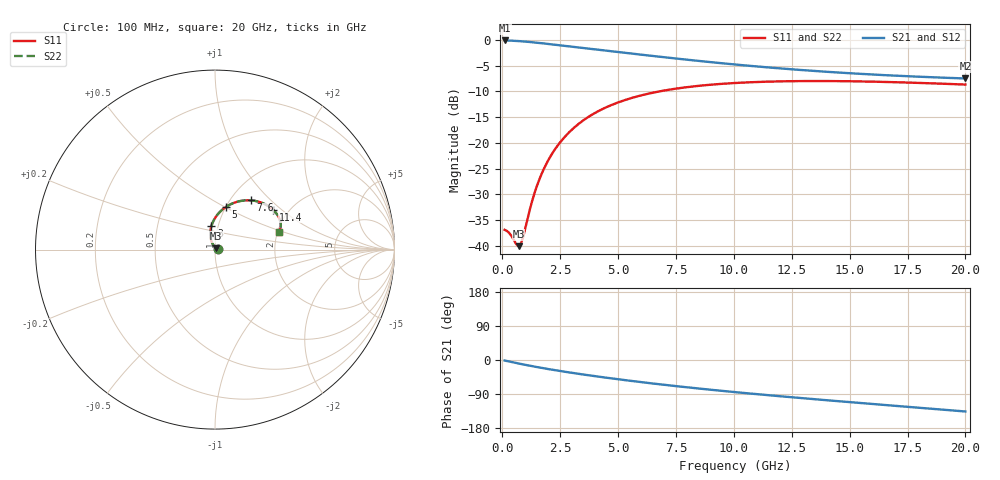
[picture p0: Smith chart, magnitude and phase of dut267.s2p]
! Touchstone file exported from HFSS 2024.1.0
!  File:  C:/UserFiles/LocalFiles/RDL_TSV_Batchsim/temp_RDL_TSV_267_1779460730.aedt
!  Generated:  10:56:12 PM May 22, 2026
!  Design:  RDL_TSV
!  Project:  temp_RDL_TSV_267_1779460730
!  Setup:  Setup1
!  Solution:  Sweep
! Variables:
!  dtsv = 10.2um
!  hbump = 3um
!  htsv = 72.18um
!  ldown = 397.79um
!  lrdl = 123.04um
!  p = 40
!  p1 = 56.06um
!  rhole = 10um
!  subl = 1685.53um
!  t = 450um
!  tdown = 2.57um
!  trdl = 3.86um
!  viad = 10um
!  wdown = 15.07um
!  wrdl = 14.47um
!  xbump = 18um
# GHz S MA R 50.000000
! Terminal data exported
! Port[1] = TM1_1_T1
! Port[2] = TM1_4_T1
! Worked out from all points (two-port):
!   200 points, 100 MHz to 20 GHz, reference 50 ohm
!   highest |S21| = -0.13 dB at 100 MHz (marker M1); lowest = -7.5 dB at 20 GHz (marker M2)
!   |S21| within 3 dB of the highest: start of sweep to 6.482 GHz
!   lowest |S11| = -40.0 dB at 700 MHz (marker M3), VSWR 1.02, Z = 50.6 + j0.781 ohm
!   |S11| at or under -10 dB: start of sweep to 6.798 GHz
!   |S22| runs from -40.0 to -8.0 dB; largest |S21 - S12| = 1.5e-14
!   S11 on the Smith chart (normalised r, x): 100 MHz: 1.03, +0.00; 3 GHz: 0.93, +0.25; 5 GHz: 1.00, +0.51; 7.6 GHz: 1.23, +0.76; 11.4 GHz: 1.67, +0.88; 20 GHz: 2.03, +0.46
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0.1  0.01436 3.5  0.9852 -1.3  0.9852 -1.3  0.01436 3.5
! Gamma 0 0 0 0
! Port Impedance 50 0 50 0
0.3  0.01338 11.3  0.9826 -4.0  0.9826 -4.0  0.01338 11.3
0.6  0.01045 35.3  0.9752 -7.9  0.9752 -7.9  0.01045 35.3
0.7  0.00997 50.7  0.9719 -9.2  0.9719 -9.2  0.00997 50.7
0.8  0.01047 68.4  0.9684 -10.4  0.9684 -10.4  0.01047 68.4
0.9  0.01221 84.3  0.9645 -11.6  0.9645 -11.6  0.01221 84.3
1.2  0.02308 108.4  0.9514 -15.2  0.9514 -15.2  0.02307 108.4
1.4  0.03304 112.7  0.9417 -17.5  0.9417 -17.5  0.03304 112.7
1.6  0.04424 113.5  0.9315 -19.8  0.9315 -19.8  0.04423 113.5
1.8  0.05626 112.6  0.921 -21.9  0.921 -21.9  0.05625 112.6
2.3  0.0883 107.5  0.8943 -27.1  0.8943 -27.1  0.08829 107.5
3  0.1341 98.4  0.8574 -33.8  0.8574 -33.8  0.1341 98.4
3.5  0.1655 92.0  0.832 -38.3  0.832 -38.3  0.1655 92.0
4.2  0.2061 83.8  0.7979 -44.3  0.7979 -44.3  0.2061 83.8
5  0.2468 75.3  0.7608 -50.8  0.7608 -50.8  0.2468 75.3
6.8  0.3163 59.8  0.6848 -64.1  0.6848 -64.1  0.3163 59.8
7.6  0.3384 54.2  0.6545 -69.6  0.6545 -69.6  0.3384 54.2
10.1  0.3816 40.2  0.5746 -85.1  0.5746 -85.1  0.3815 40.2
11.4  0.3923 34.6  0.5414 -92.4  0.5414 -92.4  0.3922 34.6
13.4  0.3982 27.6  0.5 -103.0  0.5 -103.0  0.3981 27.6
16.7  0.3894 19.6  0.452 -119.6  0.452 -119.6  0.3892 19.6
20  0.368 15.4  0.4217 -135.9  0.4217 -135.9  0.3678 15.4
